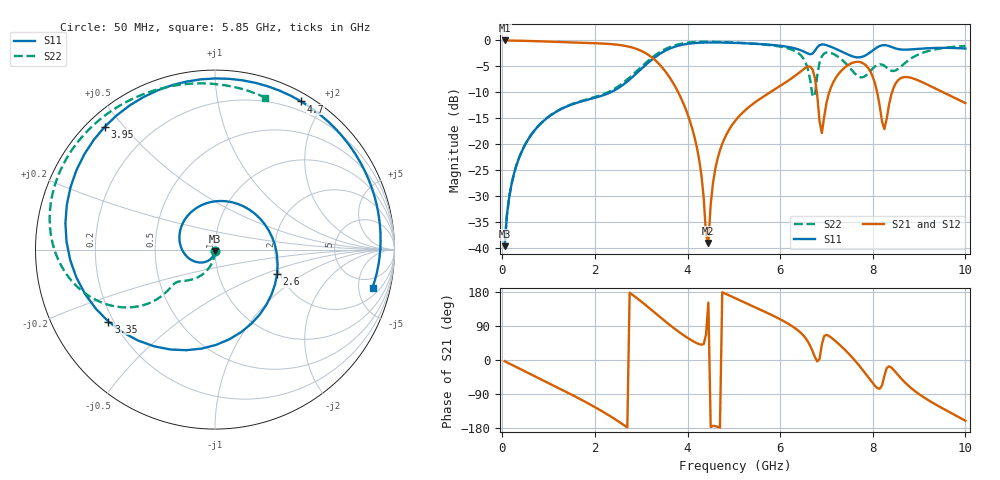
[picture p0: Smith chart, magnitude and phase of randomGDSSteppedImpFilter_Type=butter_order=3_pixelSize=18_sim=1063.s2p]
! freq	dB(S11)	phase(S11)	dB(S12)	phase(S12)
!  dB(S21)	phase(S21)	dB(S22)	phase(S22)
!S-par simulation data
#  GHz  S  DB  R 50
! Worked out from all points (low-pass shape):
!   200 points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, 50 MHz to 10 GHz, reference 50 ohm
!   highest |S21| = -0.01 dB at 50 MHz (marker M1); lowest = -39.0 dB at 4.45 GHz (marker M2)
!   |S21| within 3 dB of the highest: start of sweep to 3.19 GHz
!   lowest |S11| = -39.6 dB at 50 MHz (marker M3), VSWR 1.02, Z = 49.9 - j1.05 ohm
!   |S11| at or under -10 dB: start of sweep to 2.335 GHz
!   |S22| runs from -39.6 to -0.2 dB; largest |S21 - S12| = 0
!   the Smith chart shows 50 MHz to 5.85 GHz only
!   S11 on the Smith chart (normalised r, x): 50 MHz: 1.00, -0.02; 2.6 GHz: 1.93, -0.61; 3.35 GHz: 0.18, -0.30; 3.95 GHz: 0.05, +0.45; 4.7 GHz: 0.09, +1.74; 5.85 GHz: 3.09, -7.08
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0.05  -39.59 -93.0  -0.01 -3.1  -0.01 -3.1  -39.57 -90.3
0.5  -19.95 -134.4  -0.09 -30.4  -0.09 -30.4  -19.90 -107.2
1.75  -11.64 101.7  -0.45 -107.7  -0.45 -107.7  -11.54 -138.1
2.6  -8.60 -21.7  -0.97 -169.5  -0.97 -169.5  -8.23 -139.0
3.35  -2.90 -146.0  -4.22 119.2  -4.22 119.2  -2.54 -159.6
3.4  -2.60 -153.7  -4.67 114.1  -4.67 114.1  -2.25 -162.2
3.95  -0.73 131.9  -12.99 62.4  -12.99 62.4  -0.49 166.8
4.45  -0.39 80.8  -38.99 151.4  -38.99 151.4  -0.25 141.4
4.7  -0.40 59.8  -21.16 -178.8  -21.16 -178.8  -0.29 129.7
5.05  -0.48 34.1  -15.25 162.0  -15.25 162.0  -0.42 113.5
5.85  -0.89 -13.6  -9.61 116.8  -9.61 116.8  -0.99 71.7
6.45  -1.91 -42.0  -5.92 71.2  -5.92 71.2  -2.89 14.6
6.7  -2.52 -42.6  -5.59 23.2  -5.59 23.2  -10.72 -94.2
6.9  -0.77 -53.0  -17.84 40.7  -17.84 40.7  -3.07 81.3
7.2  -1.62 -71.4  -7.22 49.3  -7.22 49.3  -2.84 6.8
7.55  -3.03 -80.1  -4.35 7.5  -4.35 7.5  -5.75 -73.5
7.85  -2.85 -78.9  -4.79 -37.1  -4.79 -37.1  -6.76 174.4
8.1  -1.30 -86.5  -10.16 -74.4  -10.16 -74.4  -4.71 72.4
8.35  -1.08 -103.1  -12.43 -16.7  -12.43 -16.7  -5.58 -45.5
8.75  -1.77 -116.4  -7.06 -65.7  -7.06 -65.7  -3.96 163.1
9.25  -1.48 -136.6  -8.81 -109.8  -8.81 -109.8  -1.92 91.3
10  -1.56 175.8  -12.06 -160.3  -12.06 -160.3  -1.06 34.8
